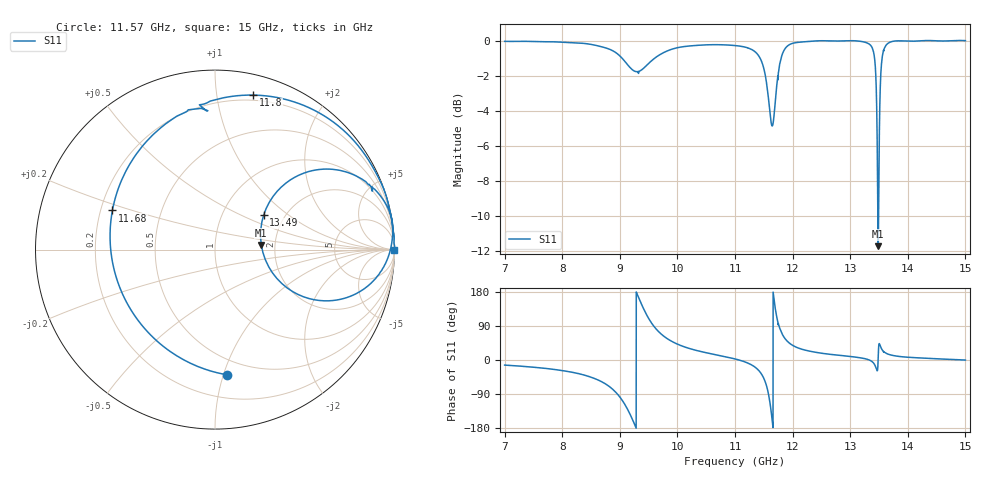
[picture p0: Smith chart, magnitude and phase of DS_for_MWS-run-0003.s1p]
! TOUCHSTONE file generated by CST DESIGN STUDIO
! Date and time: Mon Feb 10 16:42:50 2025
! Project name: C:\Work\MatlabApps\UnitCellType2OptimizationMatlab\CST\unitcell.cst
! Tree item: Tasks\Sweep1\SPara1\S-Parameters
! Header version: 2024
! Port assignment regex: !\s*Touchstone port\s*([0-9]+)\s*=\s*(CST MWS port|CST DES external port|CST DES block port)\s*(.+)\s* \(\"(.*)\"\)(\s*mode\s*([0-9]+))?.*
! Touchstone port assignment:
! Touchstone port 1 = CST DES external port 1 ("")
# GHz S MA R 50
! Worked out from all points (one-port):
!   4001 points, 7 GHz to 15 GHz, reference 50 ohm
!   lowest |S11| = -11.7 dB at 13.49 GHz (marker M1), VSWR 1.70, Z = 84.6 + j4.68 ohm
!   |S11| at or under -10 dB: 13.47991 GHz to 13.49293 GHz (13.01 MHz wide, 0.0965 % of centre)
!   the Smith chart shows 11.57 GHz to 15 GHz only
!   S11 on the Smith chart (normalised r, x): 11.57 GHz: 0.38, -1.03; 11.68 GHz: 0.25, +0.17; 11.8 GHz: 0.16, +1.26; 13.49 GHz: 1.57, +0.68; 15 GHz: open
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7  0.9952 -13.4
8  0.9896 -27.9
8.632  0.9654 -53.4
9  0.9048 -97.6
9.148  0.8488 -134.0
9.312  0.8158 170.2
9.436  0.8409 128.0
9.554  0.8771 96.9
9.754  0.9233 64.0
10  0.9546 41.9
11  0.9684 2.8
11.404  0.9087 -26.4
11.498  0.8357 -47.7
11.574  0.7007 -84.5
11.636  0.5748 -146.6
11.678  0.6118 159.1
11.734  0.7692 106.9
11.796  0.8865 76.2
12  0.9825 38.7
13  0.9997 9.3
13.378  0.9569 -4.0
13.442  0.8109 -18.2
13.486  0.2593 5.7
13.494  0.3324 35.3
13.536  0.8265 32.2
13.618  0.9681 18.2
14  0.9966 7.3
15  0.9997 -0.1
